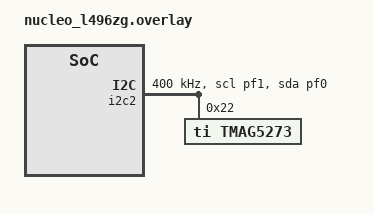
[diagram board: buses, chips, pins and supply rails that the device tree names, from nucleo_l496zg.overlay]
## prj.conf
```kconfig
CONFIG_SHELL=y
CONFIG_I2C_SHELL=y
```

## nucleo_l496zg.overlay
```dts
#include <zephyr/dt-bindings/sensor/tmag5273.h>
&i2c2 {
	pinctrl-0 = <&i2c2_scl_pf1 &i2c2_sda_pf0>;
	pinctrl-names = "default";
	status = "okay";
	clock-frequency = <I2C_BITRATE_FAST>;

	tmag5273:tmag5273@22{
		compatible = "ti,tmag5273";
		status ="okay";
		reg = <0x22>;
		
		operation-mode = <TMAG5273_DT_OPER_MODE_CONTINUOUS>;
		angle-magnitude-axis = <TMAG5273_DT_ANGLE_MAG_XY>;
	};
};
```

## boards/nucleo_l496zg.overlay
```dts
#include <zephyr/dt-bindings/sensor/tmag5273.h>

&i2c2 {
	pinctrl-0 = <&i2c2_scl_pf1 &i2c2_sda_pf0>;
	pinctrl-names = "default";
	status = "okay";
	clock-frequency = <I2C_BITRATE_FAST>;

	tmag5273:tmag5273@22{
		compatible = "ti,tmag5273";
		status ="okay";
		reg = <0x22>;
		//int-gpios = <&test_gpio 15 1>:

		operation-mode = <TMAG5273_DT_OPER_MODE_CONTINUOUS>;
		angle-magnitude-axis = <TMAG5273_DT_ANGLE_MAG_XY>;
	};
};
```

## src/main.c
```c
#include <zephyr/kernel.h>
#include <zephyr/device.h>
#include <zephyr/drivers/sensor.h>
#include <zephyr/logging/log.h>

LOG_MODULE_REGISTER(main);

int main(void)
{
    const struct device *sensor = DEVICE_DT_GET_ANY(ti_tmag5273);
    struct sensor_value value;

    if (sensor == NULL || !device_is_ready(sensor)) {
        LOG_ERR("TMAG5273 sensor not found or not ready");
        return 0;
    }

    while (1) {
        
        if (sensor_sample_fetch(sensor) < 0) {
            LOG_ERR("Failed to fetch sensor sample");
            return 0;
        }

        
        if (sensor_channel_get(sensor, SENSOR_CHAN_MAGN_X, &value) == 0) {
            double magn_x = sensor_value_to_double(&value);
            LOG_INF("Magnetometer X-axis: %lf", magn_x);
        }

        
        if (sensor_channel_get(sensor, SENSOR_CHAN_MAGN_Y, &value) == 0) {
            double magn_y = sensor_value_to_double(&value);
            LOG_INF("Magnetometer Y-axis: %lf", magn_y);
        }

       
        if (sensor_channel_get(sensor, SENSOR_CHAN_MAGN_Z, &value) == 0) {
            double magn_z = sensor_value_to_double(&value);
            LOG_INF("Magnetometer Z-axis: %lf", magn_z);
        }

       
        k_sleep(K_MSEC(1000));
    }
    return 0;
}
```
